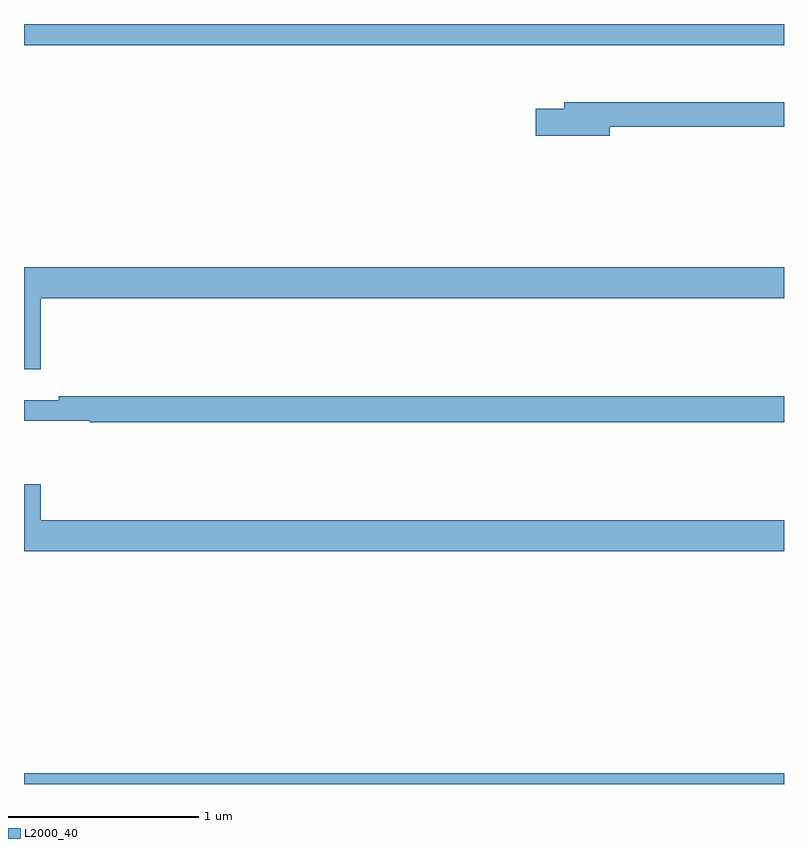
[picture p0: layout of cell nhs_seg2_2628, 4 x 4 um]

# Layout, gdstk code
import gdstk
lib = gdstk.Library(unit=1e-6, precision=1e-09)
def R(c, l, rs):  # rectangles x0, y0, x1, y1
    for r in rs: c.add(gdstk.rectangle(r[:2], r[2:], *l))
def P(c, l, *ps):  # polygons
    for p in ps: c.add(gdstk.Polygon(p, *l))
L2000_40 = (2000, 40)

nhs_seg2_2628 = lib.new_cell('nhs_seg2_2628')
R(nhs_seg2_2628, L2000_40, [(249,591.8,253,591.856), (249,595.688,253,595.8)])
P(nhs_seg2_2628, L2000_40, [(252.082,595.258),(253,595.258),(253,595.387),(251.843,595.387),(251.843,595.353),(251.694,595.353),(251.694,595.211),(252.082,595.211)],
  [(249.088,594.356),(253,594.356),(253,594.52),(249,594.52),(249,593.982),(249.088,593.982)],
  [(253,593.84),(249.184,593.84),(249.184,593.821),(249,593.821),(249,593.712),(249.345,593.712),(249.345,593.704),(253,593.704)],
  [(253,593.188),(249.088,593.188),(249.088,593.377),(249,593.377),(249,593.024),(253,593.024)])

lib.write_gds('nhs_seg2_2628.gds')
